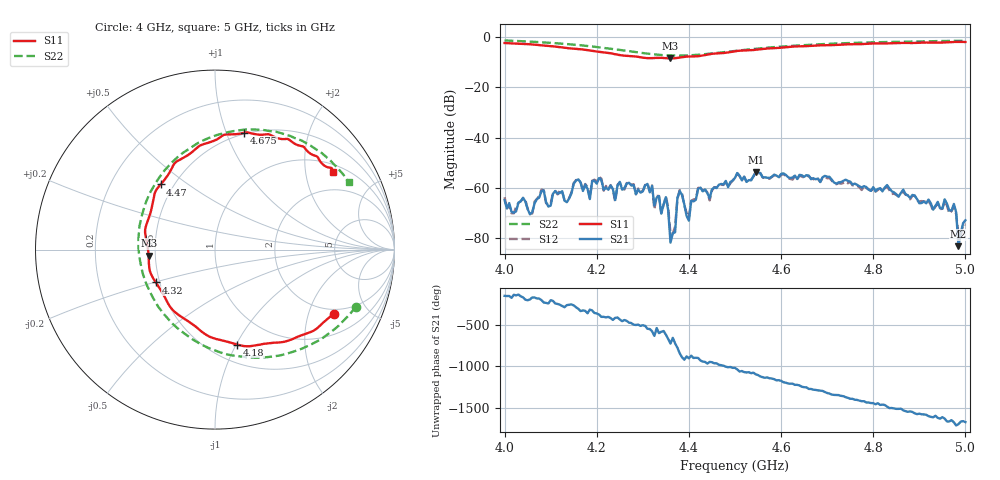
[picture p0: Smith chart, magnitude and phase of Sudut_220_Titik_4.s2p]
# Hz S RI R 50
! CMT, C1220, 16058040, 17.2.0/1
! Date: 15/08/2018 12:31:02
! Data: Format (Calibration Info)
! Freq  S11: Re/Im (F2)  S21: Re/Im (F2)  S12: Re/Im (F2)  S22: Re/Im (F2)
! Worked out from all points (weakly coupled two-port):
!   201 points, 4 GHz to 5 GHz, reference 50 ohm
!   highest |S21| = -53.67 dB at 4.545 GHz (marker M1); lowest = -83.1 dB at 4.985 GHz (marker M2)
!   lowest |S11| = -8.6 dB at 4.36 GHz (marker M3), VSWR 2.18, Z = 23 - j1.76 ohm
!   |S11| at or under -10 dB: nowhere
!   |S22| runs from -7.5 to -1.5 dB; largest |S21 - S12| = 0.00016
!   S11 on the Smith chart (normalised r, x): 4 GHz: 1.79, -2.95; 4.18 GHz: 0.67, -1.01; 4.32 GHz: 0.48, -0.20; 4.47 GHz: 0.42, +0.40; 4.675 GHz: 0.49, +1.15; 5 GHz: 1.25, +2.85
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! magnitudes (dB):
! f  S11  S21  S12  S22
! 4 GHz  -2.5  -64.9  -63.7  -1.5
! 4.06 GHz  -3.0  -69.7  -70.2  -2.0
! 4.08 GHz  -3.4  -61.3  -60.7  -2.2
! 4.17 GHz  -5.0  -61.2  -61.2  -3.5
! 4.18 GHz  -5.3  -60.4  -59.7  -3.7
! 4.32 GHz  -8.5  -59.3  -59.0  -6.9
! 4.325 GHz  -8.4  -67.0  -68.4  -7.0
! 4.335 GHz  -8.4  -63.2  -63.2  -7.2
! 4.35 GHz  -8.5  -63.7  -63.5  -7.4
! 4.36 GHz  -8.6  -81.7  -78.3  -7.4
! 4.38 GHz  -8.2  -61.3  -60.9  -7.5
! 4.4 GHz  -7.8  -73.0  -71.7  -7.4
! 4.42 GHz  -7.7  -60.4  -60.0  -7.1
! 4.47 GHz  -6.5  -58.4  -58.8  -6.2
! 4.5 GHz  -5.8  -56.0  -56.0  -5.6
! 4.545 GHz  -5.1  -53.7  -53.7  -4.8
! 4.67 GHz  -3.5  -56.1  -56.5  -3.1
! 4.675 GHz  -3.5  -56.6  -57.0  -3.0
! 4.835 GHz  -2.6  -60.2  -60.9  -2.0
! 4.975 GHz  -2.0  -66.4  -67.5  -1.6
! 4.985 GHz  -2.0  -83.1  -78.2  -1.6
! 5 GHz  -2.1  -72.9  -74.7  -1.6
